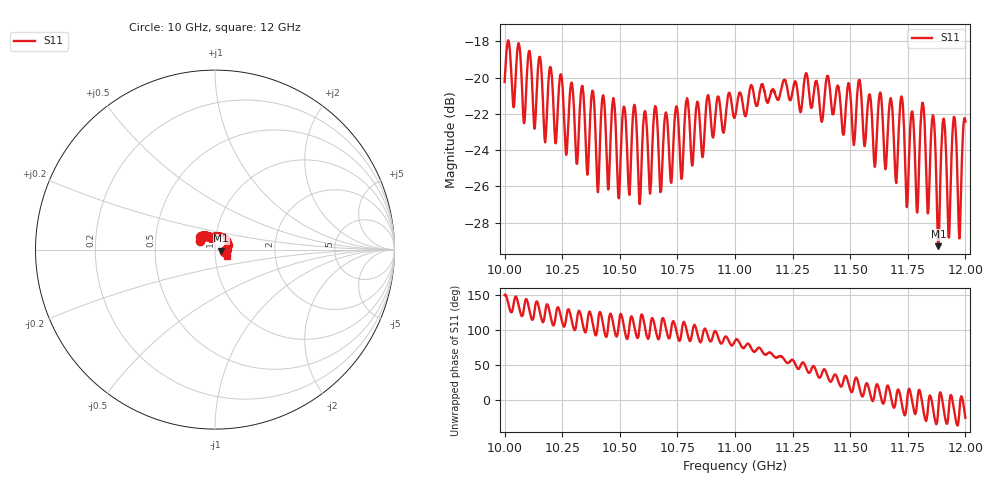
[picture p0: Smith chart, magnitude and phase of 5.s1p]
[Version] 2.0
! Rohde & Schwarz Vector Network Analyzer
! Rohde-Schwarz,ZNL20-2Port,1323001220200009,1.71.1.10-23.02.1.238
! Port Assignments:
! Nominal Port -> Actual Test Port
!  1 -> 1
! Created: GMT 2024-09-04 11:59:06
# Hz S DB R 50
[Number of Ports] 1
! freq[Hz]  S11[mag dB]  S11[ang]
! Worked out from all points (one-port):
!   2001 points, 10 GHz to 12 GHz, reference 50 ohm
!   lowest |S11| = -29.3 dB at 11.88 GHz (marker M1), VSWR 1.07, Z = 53.5 - j0.624 ohm
!   |S11| at or under -10 dB: start of sweep to end of sweep
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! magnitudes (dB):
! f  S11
! 10 GHz  -20.2
! 10.25 GHz  -20.3
! 10.36 GHz  -25.3
! 10.38 GHz  -20.7
! 10.4 GHz  -26.3
! 10.47 GHz  -21.2
! 10.5 GHz  -25.8
! 10.52 GHz  -21.6
! 10.59 GHz  -27.0
! 10.61 GHz  -21.9
! 10.68 GHz  -26.3
! 10.75 GHz  -21.8
! 11 GHz  -22.2
! 11.25 GHz  -20.8
! 11.5 GHz  -20.8
! 11.7 GHz  -25.8
! 11.72 GHz  -21.0
! 11.75 GHz  -26.5
! 11.79 GHz  -27.4
! 11.81 GHz  -21.4
! 11.84 GHz  -27.5
! 11.86 GHz  -22.2
! 11.88 GHz  -29.3
! 11.9 GHz  -22.3
! 11.93 GHz  -28.8
! 11.95 GHz  -22.3
! 11.97 GHz  -28.9
! 12 GHz  -22.4
